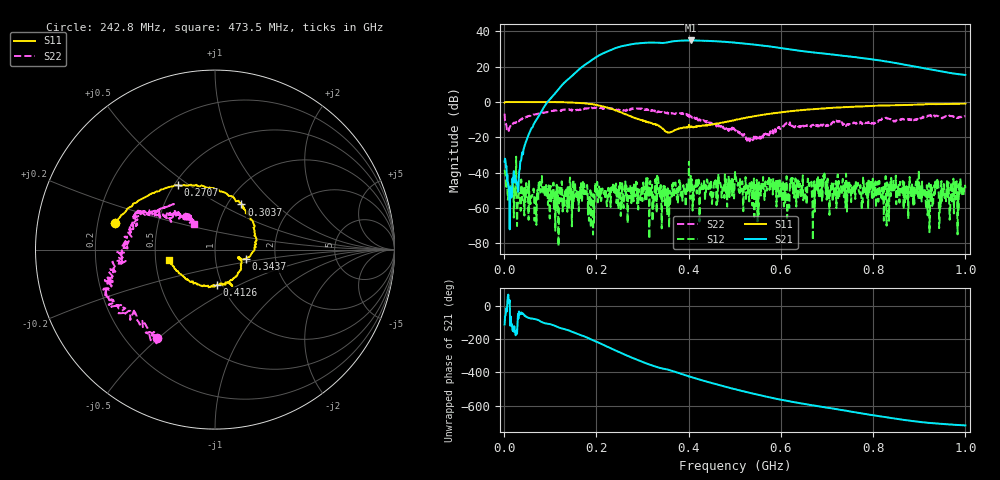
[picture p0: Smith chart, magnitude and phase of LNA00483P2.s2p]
! Created with skrf 1.9.0 (http://scikit-rf.org).
# Hz S RI R 50.0
!freq ReS11 ImS11 ReS21 ImS21 ReS12 ImS12 ReS22 ImS22
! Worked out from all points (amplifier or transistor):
!   1001 points, 1 MHz to 1 GHz, reference 50 ohm
!   highest |S21| = 34.9 dB at 404.6 MHz (marker M1)
!   |S21| within 3 dB of that: 259.9 MHz to 563.2 MHz (303.3 MHz wide, 73.7 % of centre)
!   unconditionally stable (mu >= 1): 236.8 MHz to 307.6 MHz; 401 MHz to 899 MHz; 899.2 MHz to end of sweep (the widest 3 of 46)
!   at 166.8 MHz: K = 1.41, MAG = 28.8 dB, |S12| = -45.9 dB
!   at 500.5 MHz: K = 1.12, MAG = 34.1 dB, |S12| = -38.7 dB
!   at 1 GHz: K = 3.30, MAG = 24.0 dB, |S12| = -48.8 dB
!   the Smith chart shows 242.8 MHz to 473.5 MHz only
!   S11 on the Smith chart (normalised r, x): 242.8 MHz: 0.27, +0.12; 270.7 MHz: 0.52, +0.45; 303.7 MHz: 1.16, +0.64; 343.7 MHz: 1.40, -0.15; 412.6 MHz: 0.95, -0.38; 473.5 MHz: 0.59, -0.07
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1000000  0.9673 -0.00463  -0.00739 -0.0192  -0.0121 0.00114  0.3583 0.3042
1.08892e8  0.5217 -0.8511  -0.7821 -1.475  0.00234 -0.000544  0.4268 -0.3763
1.67833e8  -0.2359 -0.9059  -9.613 -0.584  0.000835 0.00224  0.0321 -0.6453
2.09791e8  -0.6777 -0.3796  -15.22 16.17  0.00127 0.000925  -0.2182 -0.6552
2.42758e8  -0.5563 0.15  -0.4555 33.96  -0.00496 -0.000284  -0.3233 -0.4941
2.7073e8  -0.2078 0.3585  23.08 34.82  0.001 0.00161  -0.5372 -0.3551
3.03697e8  0.1474 0.2517  44.6 15.73  0.00195 0.00278  -0.5755 -0.1687
3.34666e8  0.2196 -0.00516  46.95 -8.387  -0.00293 0.00425  -0.5188 -0.0243
3.43657e8  0.1711 -0.0511  45.23 -13.27  -0.000869 0.00208  -0.507 -0.0173
3.71629e8  0.1475 -0.0751  42.79 -32  0.00111 0.00517  -0.4457 0.1737
4.04596e8  0.0581 -0.1957  21.7 -50.84  0.000608 0.00811  -0.3177 0.2154
4.12588e8  0.0114 -0.1951  15.79 -52.61  0.00432 -0.000342  -0.3062 0.1784
4.41559e8  -0.1319 -0.1808  -6.391 -53.48  0.00146 0.00323  -0.1726 0.1842
4.73527e8  -0.2565 -0.0569  -26.5 -43.61  0.00249 0.0035  -0.1187 0.144
5.005e8  -0.289 0.0962  -37.32 -30.39  0.00477 -0.0105  -0.13 0.0866
5.4046e8  -0.2447 0.3081  -41.37 -9.079  0.00175 -0.00209  -0.0835 0.0197
5.84416e8  -0.0714 0.4761  -34.99 9.292  0.00327 -0.00198  -0.1502 -0.0361
6.23377e8  0.1088 0.5415  -24.62 17.86  -0.00347 -0.00698  -0.2055 -0.0374
6.67333e8  0.3165 0.537  -13.84 21.4  0.00201 0.000577  -0.2221 0.0219
7.61239e8  0.6529 0.3585  3.066 18.38  0.00151 -0.000989  -0.2461 0.0598
8.34166e8  0.7912 0.1472  9.136 10.2  -0.000435 3.91e-05  -0.3294 0.0674
1e9  0.8212 -0.38  5.859 0.1259  -0.000256 0.00361  -0.1966 0.3318
